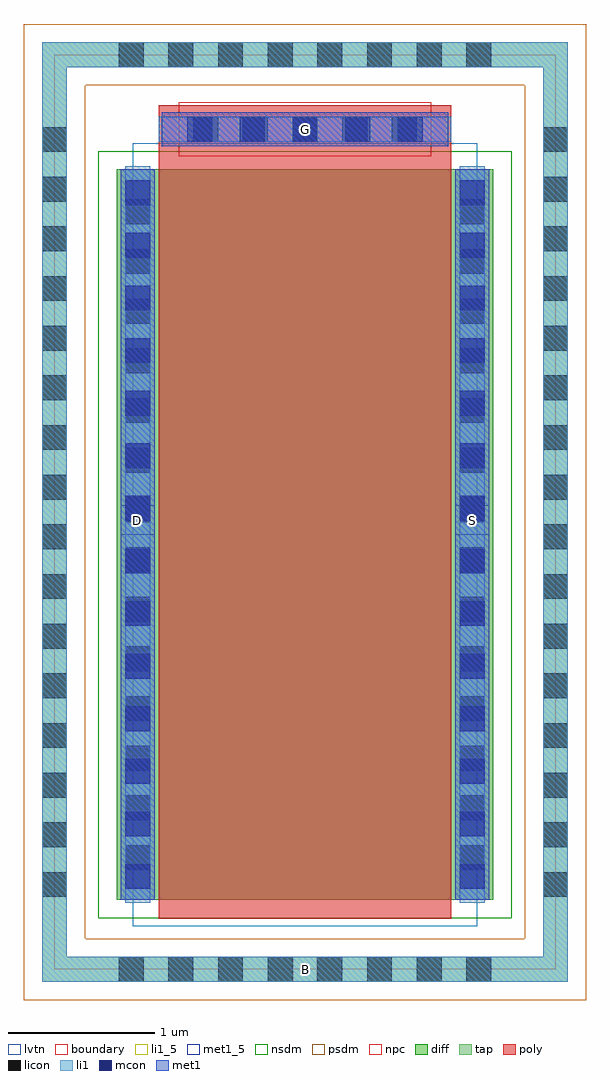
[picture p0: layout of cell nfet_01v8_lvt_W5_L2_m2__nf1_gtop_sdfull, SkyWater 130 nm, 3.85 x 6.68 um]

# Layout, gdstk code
import gdstk
lib = gdstk.Library(unit=1e-6, precision=1e-09)
def R(c, l, rs):  # rectangles x0, y0, x1, y1
    for r in rs: c.add(gdstk.rectangle(r[:2], r[2:], *l))
def A(c, l, x, y, w, h, nx, ny, dx, dy):  # array of equal rectangles
    R(c, l, [(x+i*dx, y+j*dy, x+i*dx+w, y+j*dy+h) for i in range(nx) for j in range(ny)])
diff = (65, 20)
tap = (65, 44)
poly = (66, 20)
licon = (66, 44)
li1_5 = (67, 5)
li1 = (67, 20)
mcon = (67, 44)
met1_5 = (68, 5)
met1 = (68, 20)
nsdm = (93, 44)
psdm = (94, 20)
npc = (95, 20)
lvtn = (125, 44)
boundary = (235, 4)

sky130_fd_pr__nfet_01v8_ = lib.new_cell('sky130_fd_pr__nfet_01v8_lvt_853BSM')
R(sky130_fd_pr__nfet_01v8_, diff, [(-1.29,-2.655,1.29,2.345)])
R(sky130_fd_pr__nfet_01v8_, tap, [(-1.8,-3.215,1.8,-3.045), (-1.8,-3.045,-1.63,3.045), (1.63,-3.045,1.8,3.045), (-1.8,3.045,1.8,3.215)])
R(sky130_fd_pr__nfet_01v8_, poly, [(-1,-2.785,1,2.785)])
A(sky130_fd_pr__nfet_01v8_, licon, -1.275, -3.215, 0.17, 0.17, 8, 2, 0.34, 6.26)
A(sky130_fd_pr__nfet_01v8_, licon, -1.8, -2.635, 0.17, 0.17, 1, 16, 0, 0.34)
A(sky130_fd_pr__nfet_01v8_, licon, 1.63, -2.635, 0.17, 0.17, 1, 16, 0, 0.34)
A(sky130_fd_pr__nfet_01v8_, licon, -1.23, -2.45, 0.17, 0.17, 1, 14, 0, 0.34)
A(sky130_fd_pr__nfet_01v8_, licon, 1.06, -2.45, 0.17, 0.17, 1, 14, 0, 0.34)
A(sky130_fd_pr__nfet_01v8_, licon, -0.765, 2.535, 0.17, 0.17, 5, 1, 0.34, 0)
R(sky130_fd_pr__nfet_01v8_, li1, [(-1.8,-3.215,1.8,-3.045), (-1.8,-3.045,-1.63,3.045), (1.63,-3.045,1.8,3.045), (-1.23,-2.675,-1.06,2.365), (1.06,-2.675,1.23,2.365), (-1,2.535,1,2.705), (-1.8,3.045,1.8,3.215)])
A(sky130_fd_pr__nfet_01v8_, mcon, -1.23, -2.58, 0.17, 0.17, 1, 14, 0, 0.36)
A(sky130_fd_pr__nfet_01v8_, mcon, 1.06, -2.58, 0.17, 0.17, 1, 14, 0, 0.36)
A(sky130_fd_pr__nfet_01v8_, mcon, -0.805, 2.535, 0.17, 0.17, 5, 1, 0.36, 0)
R(sky130_fd_pr__nfet_01v8_, met1, [(-1.26,-2.655,-1.03,2.345), (1.03,-2.655,1.26,2.345), (-0.98,2.505,0.98,2.735)])
R(sky130_fd_pr__nfet_01v8_, nsdm, [(-1.415,-2.78,1.415,2.47)])
R(sky130_fd_pr__nfet_01v8_, psdm, [(-1.925,-3.34,1.925,-2.92), (-1.925,-2.92,-1.505,2.92), (1.505,-2.92,1.925,2.92), (-1.925,2.92,1.925,3.34)])
R(sky130_fd_pr__nfet_01v8_, npc, [(-0.865,2.435,0.865,2.805)])
R(sky130_fd_pr__nfet_01v8_, lvtn, [(-1.18,-2.835,1.18,2.525)])
R(sky130_fd_pr__nfet_01v8_, boundary, [(-1.715,-3.13,1.715,3.13)])
sky130_fd_pr__nfet_01v8_.add(gdstk.Label('B', (0,-3.13), layer=67, texttype=5))
sky130_fd_pr__nfet_01v8_.add(gdstk.Label('D', (-1.145,-0.155), layer=67, texttype=5))
sky130_fd_pr__nfet_01v8_.add(gdstk.Label('S', (1.145,-0.155), layer=67, texttype=5))
sky130_fd_pr__nfet_01v8_.add(gdstk.Label('G', (0,2.62), layer=67, texttype=5))

nfet_01v8_lvt_w5_l2_m2__ = lib.new_cell('nfet_01v8_lvt_W5_L2_m2__nf1_gtop_sdfull')
R(nfet_01v8_lvt_w5_l2_m2__, li1_5, [(1.63,-0.085,1.8,0.085)])
R(nfet_01v8_lvt_w5_l2_m2__, li1, [(1.63,-0.085,1.8,0.085)])
R(nfet_01v8_lvt_w5_l2_m2__, met1_5, [(0.455,2.975,0.685,3.175), (2.745,2.975,2.975,3.175), (0.735,5.635,2.695,5.865)])
R(nfet_01v8_lvt_w5_l2_m2__, met1, [(0.455,2.975,0.685,3.175), (2.745,2.975,2.975,3.175), (0.735,5.635,2.695,5.865)])
nfet_01v8_lvt_w5_l2_m2__.add(gdstk.Reference(sky130_fd_pr__nfet_01v8_, (1.715,3.13)))
nfet_01v8_lvt_w5_l2_m2__.add(gdstk.Label('D', (0.57,3.075), layer=68, texttype=5))
nfet_01v8_lvt_w5_l2_m2__.add(gdstk.Label('S', (2.86,3.075), layer=68, texttype=5))
nfet_01v8_lvt_w5_l2_m2__.add(gdstk.Label('G', (1.715,5.75), layer=68, texttype=5))
nfet_01v8_lvt_w5_l2_m2__.add(gdstk.Label('B', (1.715,0), layer=67, texttype=5))

lib.write_gds('nfet_01v8_lvt_W5_L2_m2__nf1_gtop_sdfull.gds')
